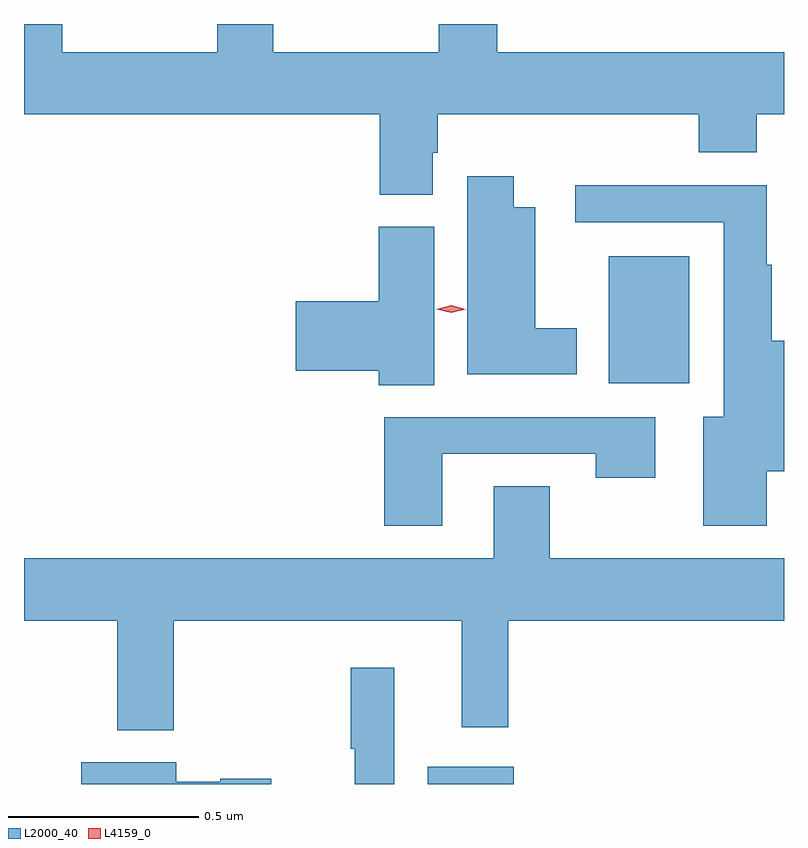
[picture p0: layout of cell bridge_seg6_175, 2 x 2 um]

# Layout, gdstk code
import gdstk
lib = gdstk.Library(unit=1e-6, precision=1e-09)
def R(c, l, rs):  # rectangles x0, y0, x1, y1
    for r in rs: c.add(gdstk.rectangle(r[:2], r[2:], *l))
def P(c, l, *ps):  # polygons
    for p in ps: c.add(gdstk.Polygon(p, *l))
L2000_40 = (2000, 40)
L4159_0 = (4159, 0)

bridge_seg6_175 = lib.new_cell('bridge_seg6_175')
R(bridge_seg6_175, L2000_40, [(199.889,965.554,200.116,965.599), (200.366,966.608,200.578,966.943)])
P(bridge_seg6_175, L2000_40, [(199.903,967.215),(199.916,967.215),(199.916,967.316),(200.603,967.316),(200.603,967.217),(200.755,967.217),(200.755,967.316),(200.827,967.316),(200.827,967.48),(200.072,967.48),(200.072,967.554),(199.919,967.554),(199.919,967.48),(199.483,967.48),(199.483,967.554),(199.336,967.554),(199.336,967.48),(198.927,967.48),(198.927,967.554),(198.827,967.554),(198.827,967.316),(199.763,967.316),(199.763,967.105),(199.903,967.105)],
  [(200.281,966.754),(200.173,966.754),(200.173,967.072),(200.116,967.072),(200.116,967.153),(199.994,967.153),(199.994,966.632),(200.281,966.632)],
  [(200.782,966.377),(200.827,966.377),(200.827,966.721),(200.795,966.721),(200.795,966.921),(200.782,966.921),(200.782,967.13),(200.277,967.13),(200.277,967.032),(200.669,967.032),(200.669,966.52),(200.615,966.52),(200.615,966.234),(200.782,966.234)],
  [(199.906,967.02),(199.76,967.02),(199.76,966.824),(199.542,966.824),(199.542,966.641),(199.76,966.641),(199.76,966.604),(199.906,966.604)],
  [(199.927,966.423),(200.332,966.423),(200.332,966.36),(200.488,966.36),(200.488,966.519),(199.775,966.519),(199.775,966.234),(199.927,966.234)],
  [(199.221,965.984),(199.979,965.984),(199.979,965.703),(200.101,965.703),(200.101,965.984),(200.827,965.984),(200.827,966.148),(200.211,966.148),(200.211,966.338),(200.063,966.338),(200.063,966.148),(198.827,966.148),(198.827,965.984),(199.073,965.984),(199.073,965.696),(199.221,965.696)],
  [(199.801,965.86),(199.687,965.86),(199.687,965.647),(199.697,965.647),(199.697,965.554),(199.801,965.554)],
  [(199.477,965.568),(199.344,965.568),(199.344,965.56),(199.228,965.56),(199.228,965.611),(198.977,965.611),(198.977,965.554),(199.477,965.554)])
P(bridge_seg6_175, L4159_0, [(199.951,966.794),(199.912,966.804),(199.912,966.804),(199.912,966.804),(199.951,966.814),(199.99,966.804),(199.99,966.804),(199.99,966.804)])

lib.write_gds('bridge_seg6_175.gds')
